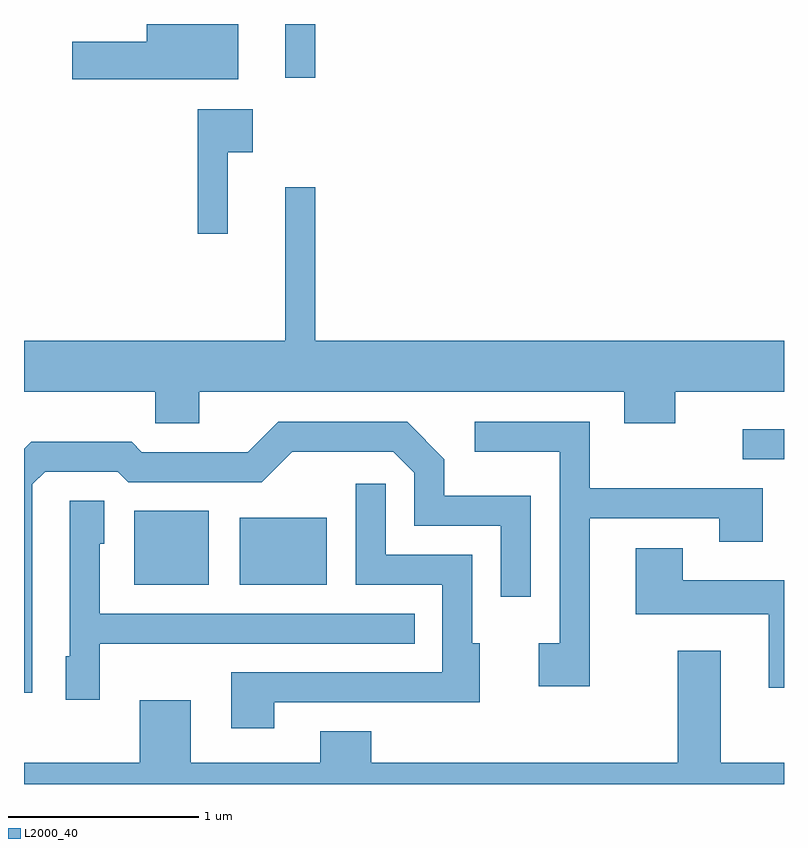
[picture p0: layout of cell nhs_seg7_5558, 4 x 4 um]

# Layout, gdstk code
import gdstk
lib = gdstk.Library(unit=1e-6, precision=1e-09)
def R(c, l, rs):  # rectangles x0, y0, x1, y1
    for r in rs: c.add(gdstk.rectangle(r[:2], r[2:], *l))
def P(c, l, *ps):  # polygons
    for p in ps: c.add(gdstk.Polygon(p, *l))
L2000_40 = (2000, 40)

nhs_seg7_5558 = lib.new_cell('nhs_seg7_5558')
R(nhs_seg7_5558, L2000_40, [(356.191,1713.301,356.584,1713.689), (356.746,1713.301,357.204,1713.654), (359.393,1713.961,359.611,1714.119), (356.986,1715.968,357.144,1716.252)])
P(nhs_seg7_5558, L2000_40, [(356.739,1716.252),(356.256,1716.252),(356.256,1716.159),(355.866,1716.159),(355.866,1715.961),(356.739,1715.961)],
  [(356.684,1715.576),(356.814,1715.576),(356.814,1715.804),(356.526,1715.804),(356.526,1715.148),(356.684,1715.148)],
  [(356.534,1714.316),(358.771,1714.316),(358.771,1714.151),(359.039,1714.151),(359.039,1714.316),(359.611,1714.316),(359.611,1714.584),(357.144,1714.584),(357.144,1715.393),(356.986,1715.393),(356.986,1714.584),(355.611,1714.584),(355.611,1714.316),(356.301,1714.316),(356.301,1714.151),(356.534,1714.151)],
  [(355.654,1713.829),(355.722,1713.896),(356.104,1713.896),(356.159,1713.841),(356.862,1713.841),(357.022,1714.001),(357.554,1714.001),(357.666,1713.889),(357.666,1713.611),(358.121,1713.611),(358.121,1713.238),(358.279,1713.238),(358.279,1713.769),(357.824,1713.769),(357.824,1713.962),(357.627,1714.159),(356.949,1714.159),(356.789,1713.999),(356.232,1713.999),(356.177,1714.054),(355.649,1714.054),(355.611,1714.016),(355.611,1712.731),(355.654,1712.731)],
  [(358.589,1713.651),(359.271,1713.651),(359.271,1713.526),(359.499,1713.526),(359.499,1713.809),(358.589,1713.809),(358.589,1714.159),(357.983,1714.159),(357.983,1714.001),(358.431,1714.001),(358.431,1712.994),(358.321,1712.994),(358.321,1712.766),(358.589,1712.766)],
  [(356.929,1712.681),(358.009,1712.681),(358.009,1712.994),(357.969,1712.994),(357.969,1713.459),(357.514,1713.459),(357.514,1713.833),(357.356,1713.833),(357.356,1713.301),(357.811,1713.301),(357.811,1712.839),(356.701,1712.839),(356.701,1712.546),(356.929,1712.546)],
  [(356.009,1712.991),(357.668,1712.991),(357.668,1713.149),(356.009,1713.149),(356.009,1713.516),(356.034,1713.516),(356.034,1713.744),(355.851,1713.744),(355.851,1712.924),(355.831,1712.924),(355.831,1712.696),(356.009,1712.696)],
  [(359.611,1713.324),(359.079,1713.324),(359.079,1713.494),(358.831,1713.494),(358.831,1713.146),(359.531,1713.146),(359.531,1712.758),(359.611,1712.758)],
  [(359.611,1712.364),(359.279,1712.364),(359.279,1712.954),(359.051,1712.954),(359.051,1712.364),(357.439,1712.364),(357.439,1712.529),(357.171,1712.529),(357.171,1712.364),(356.489,1712.364),(356.489,1712.694),(356.221,1712.694),(356.221,1712.364),(355.611,1712.364),(355.611,1712.252),(359.611,1712.252)])

lib.write_gds('nhs_seg7_5558.gds')
